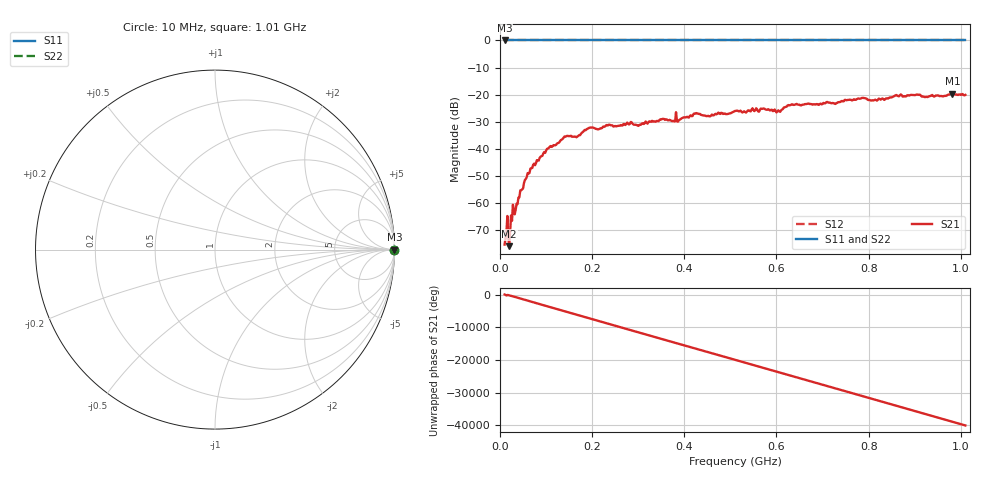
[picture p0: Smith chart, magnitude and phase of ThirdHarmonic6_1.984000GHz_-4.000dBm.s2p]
! 8/16/2025 11:51:04 PM
! C:\ANRITSUVNA\TEMP\TEMP.S2P
! CHANNEL.1
! TR.MEASUREMENT
! RAW.DATA
! RF.CORRECTION.OFF
! AVERAGING.OFF
! IF.BANDWIDTH: 5KHZ
! SWEEPTYPE:  FREQ.SWEEP(Linear)
! Reference Plane Port Info
! PORT:  PORT1  PORT2
! DISTANCE:  0  m  0  m
! TIME:  0  s  0  s
! PHASE.OFFSET:  0  deg.  0  deg.
! LOSS:  0  dB  0  dB
! REF.LOSS:  0  dB  0  dB
! REF.FREQ:  0  Hz  0  Hz
! Power Info
! POWER:  -20  dBm  -20  dBm
! EFF.POWER:  -20  dBm  -20  dBm
! SOURCE.ATTEN:  0  dB  0  dB
! TEST.ATTEN:  0  dB  0  dB
# GHZ S RI R 50.0
! FREQ.GHZ  S11RE  S11IM  S21RE  S21IM  S12RE  S12IM  S22RE  S22IM
!; PortSelection: Port_12
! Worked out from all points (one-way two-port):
!   501 points, 10 MHz to 1.01 GHz, reference 50 ohm
!   highest |S21| = -19.56 dB at 982 MHz (marker M1); lowest = -75.8 dB at 20 MHz (marker M2)
!   lowest |S11| = 0.0 dB at 10 MHz (marker M3)
!   |S11| at or under -10 dB: nowhere
!   |S22| runs from 0.0 to 0.0 dB; largest |S21 - S12| = 1.1
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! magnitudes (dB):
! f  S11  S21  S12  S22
! 10 MHz  0.0  -75.2  0.0  0.0
! 12 MHz  0.0  -72.9  0.0  0.0
! 20 MHz  0.0  -75.8  0.0  0.0
! 22 MHz  0.0  -70.7  0.0  0.0
! 28 MHz  0.0  -60.5  0.0  0.0
! 34 MHz  0.0  -62.4  0.0  0.0
! 56 MHz  0.0  -51.0  0.0  0.0
! 70 MHz  0.0  -47.0  0.0  0.0
! 106 MHz  0.0  -39.6  0.0  0.0
! 142 MHz  0.0  -35.4  0.0  0.0
! 178 MHz  0.0  -33.9  0.0  0.0
! 196 MHz  0.0  -32.1  0.0  0.0
! 302 MHz  0.0  -31.2  0.0  0.0
! 344 MHz  0.0  -29.7  0.0  0.0
! 510 MHz  0.0  -26.0  0.0  0.0
! 570 MHz  0.0  -25.2  0.0  0.0
! 604 MHz  0.0  -25.7  0.0  0.0
! 630 MHz  0.0  -23.8  0.0  0.0
! 678 MHz  0.0  -23.7  0.0  0.0
! 844 MHz  0.0  -21.2  0.0  0.0
! 982 MHz  0.0  -19.6  0.0  0.0
! 1.01 GHz  0.0  -20.0  0.0  0.0
